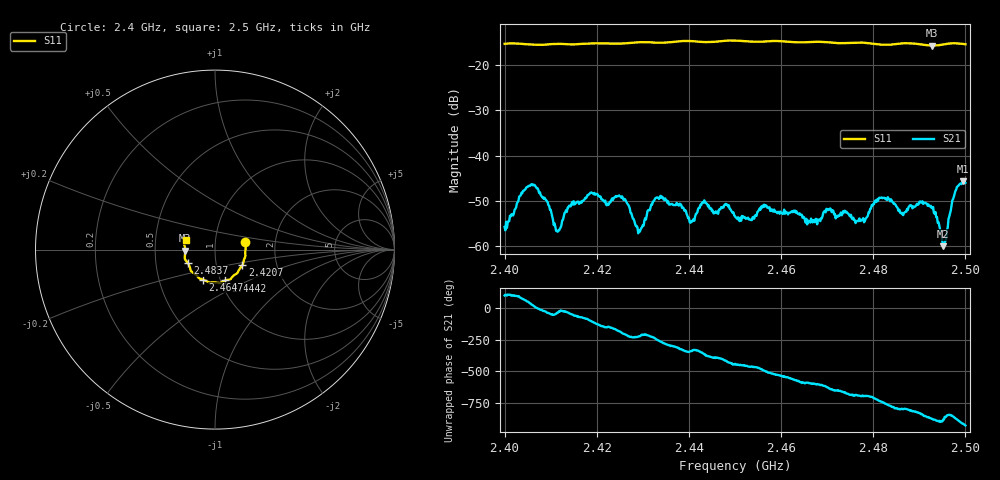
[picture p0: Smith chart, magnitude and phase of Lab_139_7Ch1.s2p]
# Hz S RI R 50
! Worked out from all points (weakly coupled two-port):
!   601 points, 2.4 GHz to 2.5 GHz, reference 50 ohm
!   highest |S21| = -45.73 dB at 2.4995 GHz (marker M1); lowest = -60.1 dB at 2.4952 GHz (marker M2)
!   lowest |S11| = -15.6 dB at 2.4928 GHz (marker M3), VSWR 1.40, Z = 35.8 - j0.394 ohm
!   |S11| at or under -10 dB: start of sweep to end of sweep
!   S12 and S22 are empty: the file has one direction only
!   S11 on the Smith chart (normalised r, x): 2.4 GHz: 1.40, +0.12; 2.4207 GHz: 1.33, -0.24; 2.4442 GHz: 1.05, -0.37; 2.4647 GHz: 0.83, -0.29; 2.4837 GHz: 0.73, -0.11; 2.5 GHz: 0.72, +0.08
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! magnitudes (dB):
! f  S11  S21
! 2.4 GHz  -15.2  -55.8
! 2.4055 GHz  -15.4  -46.7
! 2.4115 GHz  -15.2  -56.9
! 2.4167 GHz  -15.3  -50.4
! 2.4207 GHz  -15.1  -49.1
! 2.4257 GHz  -15.2  -49.4
! 2.4293 GHz  -14.9  -56.9
! 2.4333 GHz  -15.0  -49.4
! 2.4407 GHz  -14.6  -54.6
! 2.4442 GHz  -14.9  -51.3
! 2.45 GHz  -14.5  -53.4
! 2.4647 GHz  -14.9  -53.8
! 2.4667 GHz  -14.8  -54.5
! 2.4703 GHz  -14.9  -51.9
! 2.4777 GHz  -15.0  -54.1
! 2.4833 GHz  -15.4  -49.6
! 2.4837 GHz  -15.4  -50.1
! 2.4928 GHz  -15.6  -51.6
! 2.4952 GHz  -15.4  -60.1
! 2.4977 GHz  -15.1  -48.4
! 2.4995 GHz  -15.3  -45.7
! 2.5 GHz  -15.3  -46.0
